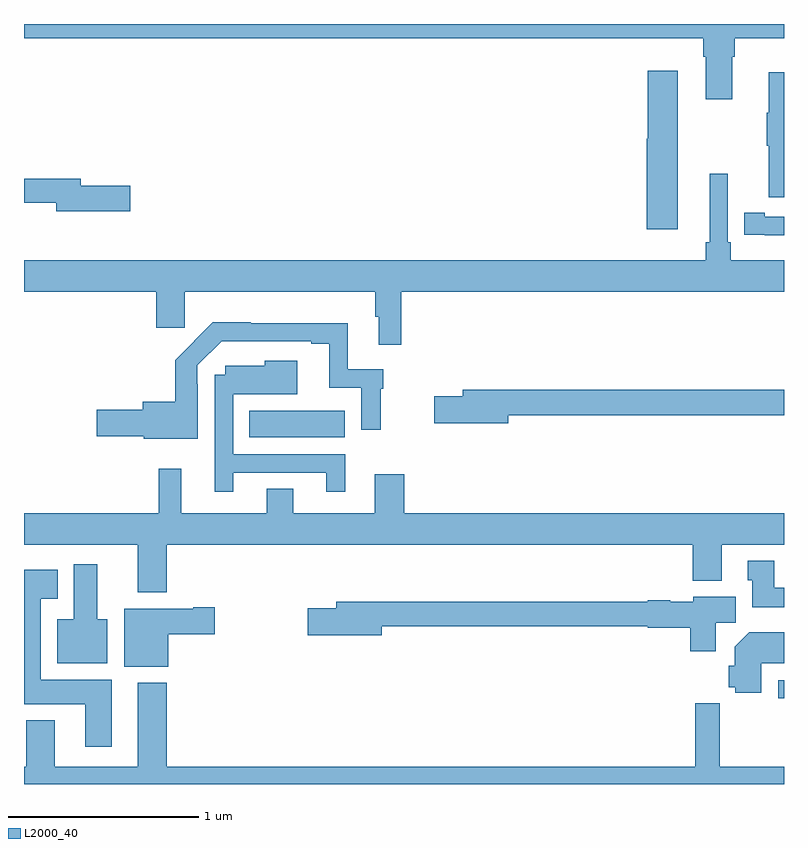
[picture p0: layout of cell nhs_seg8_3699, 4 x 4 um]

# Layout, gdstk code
import gdstk
lib = gdstk.Library(unit=1e-6, precision=1e-09)
def R(c, l, rs):  # rectangles x0, y0, x1, y1
    for r in rs: c.add(gdstk.rectangle(r[:2], r[2:], *l))
def P(c, l, *ps):  # polygons
    for p in ps: c.add(gdstk.Polygon(p, *l))
L2000_40 = (2000, 40)

nhs_seg8_3699 = lib.new_cell('nhs_seg8_3699')
R(nhs_seg8_3699, L2000_40, [(342.969,1122.351,343,1122.447), (340.186,1123.724,340.687,1123.864)])
P(nhs_seg8_3699, L2000_40, [(342.727,1125.728),(342.74,1125.728),(342.74,1125.824),(343,1125.824),(343,1125.9),(339,1125.9),(339,1125.824),(342.575,1125.824),(342.575,1125.728),(342.587,1125.728),(342.587,1125.504),(342.727,1125.504)],
  [(342.442,1125.655),(342.284,1125.655),(342.284,1125.297),(342.278,1125.297),(342.278,1124.82),(342.442,1124.82)],
  [(343,1125.646),(342.92,1125.646),(342.92,1125.433),(342.909,1125.433),(342.909,1125.259),(342.92,1125.259),(342.92,1124.988),(343,1124.988)],
  [(340.985,1124.492),(343,1124.492),(343,1124.656),(342.719,1124.656),(342.719,1124.752),(342.705,1124.752),(342.705,1125.112),(342.608,1125.112),(342.608,1124.752),(342.589,1124.752),(342.589,1124.656),(339,1124.656),(339,1124.492),(339.695,1124.492),(339.695,1124.301),(339.845,1124.301),(339.845,1124.492),(340.849,1124.492),(340.849,1124.36),(340.868,1124.36),(340.868,1124.211),(340.985,1124.211)],
  [(339.559,1125.05),(339.298,1125.05),(339.298,1125.086),(339,1125.086),(339,1124.958),(339.17,1124.958),(339.17,1124.915),(339.559,1124.915)],
  [(343,1124.886),(342.898,1124.886),(342.898,1124.906),(342.79,1124.906),(342.79,1124.79),(342.898,1124.79),(342.898,1124.789),(343,1124.789)],
  [(339.915,1124.003),(339.912,1124.003),(339.912,1124.103),(340.04,1124.231),(340.141,1124.231),(340.141,1124.229),(340.511,1124.229),(340.511,1124.217),(340.607,1124.217),(340.607,1123.986),(340.776,1123.986),(340.776,1123.764),(340.877,1123.764),(340.877,1123.979),(340.892,1123.979),(340.892,1124.082),(340.705,1124.082),(340.705,1124.326),(340.193,1124.326),(340.193,1124.329),(339.994,1124.329),(339.797,1124.131),(339.797,1123.912),(339.626,1123.912),(339.626,1123.871),(339.384,1123.871),(339.384,1123.729),(339.63,1123.729),(339.63,1123.718),(339.915,1123.718)],
  [(340.102,1123.539),(340.592,1123.539),(340.592,1123.437),(340.69,1123.437),(340.69,1123.635),(340.101,1123.635),(340.101,1123.952),(340.438,1123.952),(340.438,1124.128),(340.266,1124.128),(340.266,1124.101),(340.059,1124.101),(340.059,1124.055),(340.005,1124.055),(340.005,1123.437),(340.102,1123.437)],
  [(341.548,1123.84),(343,1123.84),(343,1123.976),(341.309,1123.976),(341.309,1123.94),(341.16,1123.94),(341.16,1123.798),(341.548,1123.798)],
  [(339.752,1123.16),(342.521,1123.16),(342.521,1122.971),(342.673,1122.971),(342.673,1123.16),(343,1123.16),(343,1123.324),(341,1123.324),(341,1123.531),(340.847,1123.531),(340.847,1123.324),(340.417,1123.324),(340.417,1123.454),(340.277,1123.454),(340.277,1123.324),(339.827,1123.324),(339.827,1123.558),(339.709,1123.558),(339.709,1123.324),(339,1123.324),(339,1123.16),(339.599,1123.16),(339.599,1122.908),(339.752,1122.908)],
  [(343,1122.934),(342.949,1122.934),(342.949,1123.075),(342.809,1123.075),(342.809,1122.972),(342.833,1122.972),(342.833,1122.83),(343,1122.83)],
  [(339.439,1122.766),(339.385,1122.766),(339.385,1123.057),(339.263,1123.057),(339.263,1122.766),(339.176,1122.766),(339.176,1122.536),(339.439,1122.536)],
  [(339.463,1122.448),(339.088,1122.448),(339.088,1122.875),(339.178,1122.875),(339.178,1123.027),(339,1123.027),(339,1122.32),(339.323,1122.32),(339.323,1122.096),(339.463,1122.096)],
  [(342.64,1122.748),(342.745,1122.748),(342.745,1122.886),(342.522,1122.886),(342.522,1122.859),(342.402,1122.859),(342.402,1122.867),(342.282,1122.867),(342.282,1122.859),(340.643,1122.859),(340.643,1122.825),(340.494,1122.825),(340.494,1122.683),(340.882,1122.683),(340.882,1122.73),(342.282,1122.73),(342.282,1122.722),(342.506,1122.722),(342.506,1122.6),(342.64,1122.6)],
  [(339.76,1122.689),(340.003,1122.689),(340.003,1122.831),(339.89,1122.831),(339.89,1122.823),(339.527,1122.823),(339.527,1122.518),(339.76,1122.518)],
  [(342.88,1122.536),(343,1122.536),(343,1122.7),(342.818,1122.7),(342.74,1122.622),(342.74,1122.522),(342.71,1122.522),(342.71,1122.408),(342.744,1122.408),(342.744,1122.379),(342.88,1122.379)],
  [(343,1121.992),(342.661,1121.992),(342.661,1122.325),(342.532,1122.325),(342.532,1121.992),(339.752,1121.992),(339.752,1122.433),(339.599,1122.433),(339.599,1121.992),(339.163,1121.992),(339.163,1122.235),(339.011,1122.235),(339.011,1121.992),(339,1121.992),(339,1121.9),(343,1121.9)])

lib.write_gds('nhs_seg8_3699.gds')
